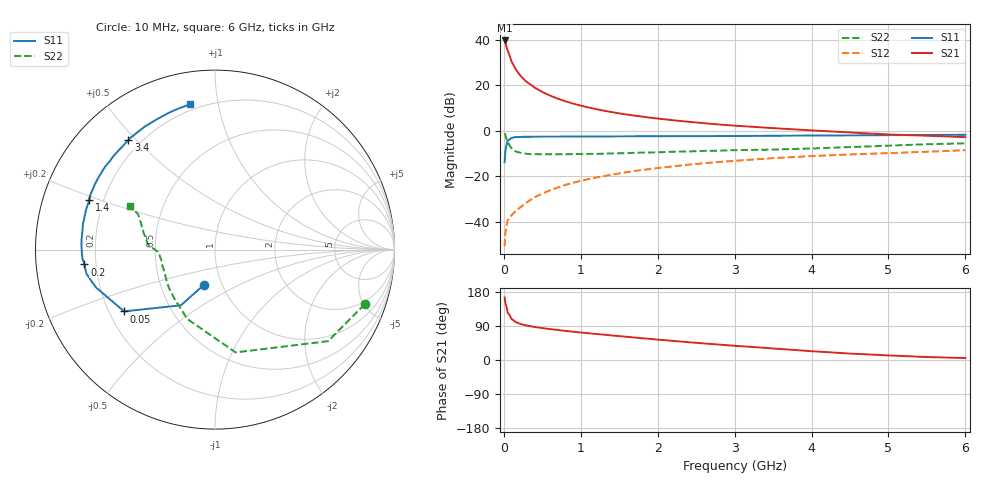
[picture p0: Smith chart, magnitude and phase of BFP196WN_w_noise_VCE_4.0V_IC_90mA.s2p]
! Infineon Technologies  Discrete & RF Semiconductors
! BFP196WN
! VCE =  4.0 V,  IC =  90 mA
! Common Emitter S-Parameters:  Jan 2017
# GHz  S  MA  R  50
!  f  S11  S21  S12  S22
! GHz  MAG  ANG  MAG  ANG  MAG  ANG  MAG  ANG
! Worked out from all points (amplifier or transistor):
!   77 points, 10 MHz to 6 GHz, reference 50 ohm
!   highest |S21| = 39.8 dB at 10 MHz (marker M1)
!   |S21| within 3 dB of that: start of sweep to 36.69 MHz
!   unconditionally stable (mu >= 1): 479.6 MHz to 2.67 GHz
!   at 130 MHz: K = 0.71, MSG = 32.4 dB, |S12| = -36.1 dB
!   at 2.2 GHz: K = 1.02, MAG = 9.4 dB, |S12| = -15.6 dB
!   at 6 GHz: K = 0.92, MSG = 2.9 dB, |S12| = -8.5 dB
!   lowest NFmin = 1.69 dB at 450 MHz
!   S11 on the Smith chart (normalised r, x): 10 MHz: 0.82, -0.34; 50 MHz: 0.26, -0.29; 200 MHz: 0.15, -0.06; 1.4 GHz: 0.15, +0.19; 3.4 GHz: 0.15, +0.47; 6 GHz: 0.17, +0.83
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0.01  0.2047 -107.3  97.58 164.8  0.0029 78.5  0.8885 -20.0
0.02  0.3641 -121.5  86.41 150.3  0.0057 73.7  0.8107 -39.0
0.05  0.6126 -145.8  58.41 124.4  0.0107 51.9  0.5841 -78.7
0.1  0.6965 -162.5  33.53 107.9  0.0139 54.7  0.4162 -111.8
0.15  0.7291 -169.4  23.21 100.6  0.0168 58.5  0.3546 -129.6
0.2  0.7324 -173.5  17.59 96.2  0.0198 61.8  0.3338 -140.4
0.25  0.7399 -176.1  14.16 93.2  0.0232 64.9  0.3214 -147.1
0.3  0.742 -178.5  11.86 90.9  0.0267 66.4  0.3116 -152.7
0.4  0.7442 178.1  8.947 87.0  0.0346 69.9  0.3065 -159.0
0.5  0.7456 175.6  7.165 84.2  0.0415 70.9  0.307 -163.4
0.6  0.7453 173.2  5.983 81.5  0.0494 71.5  0.3064 -166.7
0.7  0.7467 171.1  5.123 79.3  0.0564 72.9  0.3047 -169.1
0.9  0.7483 167.0  3.984 74.6  0.072 71.5  0.3085 -172.1
1.1  0.7512 163.6  3.273 70.7  0.0868 71.0  0.3111 -174.7
1.4  0.7543 158.5  2.597 64.8  0.1087 69.3  0.3197 -177.2
1.7  0.7595 153.6  2.166 59.3  0.131 67.3  0.3288 -179.0
2.1  0.7633 147.5  1.788 52.2  0.1588 64.0  0.3427 179.0
3.1  0.7714 132.7  1.269 36.2  0.2252 55.1  0.3781 174.4
3.4  0.7777 128.4  1.177 31.9  0.2441 52.5  0.385 172.4
4.1  0.7899 118.5  1.004 22.0  0.2829 46.3  0.4151 165.1
5.1  0.8056 107.9  0.822 11.3  0.3283 38.4  0.4788 155.0
6  0.8212 99.9  0.728 5.1  0.3748 32.3  0.5312 152.9
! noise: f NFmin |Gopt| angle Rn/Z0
0.45  1.69  0.59  -175  0.05
0.9  1.82  0.6  -168  0.07
1.9  2.82  0.71  -146  0.23
2.4  3.6  0.72  -138  0.39
